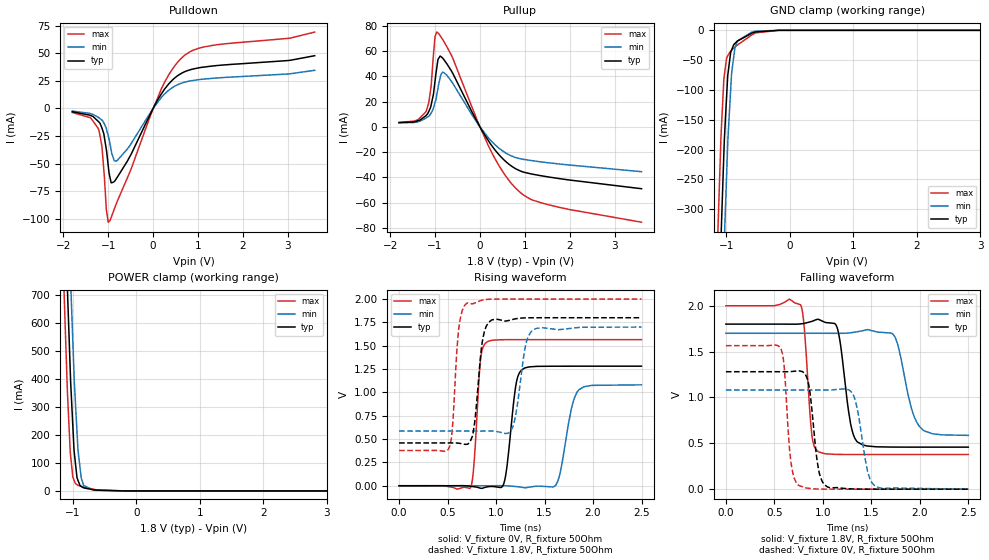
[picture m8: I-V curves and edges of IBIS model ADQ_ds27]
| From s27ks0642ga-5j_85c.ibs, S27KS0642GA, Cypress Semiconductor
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[Model]   ADQ_ds27
Model_type   I/O
Polarity   Non-Inverting
Enable   Active-High
Vinl = 0.54
Vinh = 1.26
Vmeas = 0.9
Vref = 0.9
Cref = 15pF
|   typ   min   max
C_comp   1.03pF   1.01pF   1.05pF
[Voltage Range]   1.8   1.7   2
[Temperature Range]   25   85   -40
[Pullup Reference]   1.8   1.7   2
[Pulldown Reference]   0   0   0
[Power Clamp Reference]   1.8   1.7   2
[GND Clamp Reference]   0   0   0
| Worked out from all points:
|   slope of the pulldown table from 0 to 0.27 V, typ, clamps not added: 14.7 ohm
|   slope of the pullup table from 0 to 0.27 V, typ, clamps not added: 17.7 ohm
|   falling waveform, V_fixture 1.8V, R_fixture 50Ohm: 20-80 % time 96.3ps typ, 141ps min, 61.6ps max; typ from 1.8 V to 0.458 V
|   rising waveform, V_fixture 0V, R_fixture 50Ohm: 20-80 % time 78.8ps typ, 110ps min, 53.5ps max; typ from 0 V to 1.28 V
|   rising waveform, V_fixture 1.8V, R_fixture 50Ohm: 20-80 % time 72ps typ, 88.7ps min, 59.2ps max; typ from 0.458 V to 1.8 V
|   falling waveform, V_fixture 0V, R_fixture 50Ohm: 20-80 % time 78.4ps typ, 100ps min, 61.4ps max; typ from 1.28 V to 0 V
[Pulldown]
|   Voltage   I(typ)   I(min)   I(max)
-1.8V     -2.948mA   -2.372mA   -3.666mA
-1.388V   -6.449mA   -4.746mA   -8.67mA
-1.22V    -11.79mA   -8.041mA   -18.25mA
-1.14V    -17.65mA   -10.5mA    -34.28mA
-1.04V    -37.62mA   -18.34mA   -92.16mA
-1V       -51.67mA   -24.74mA   -103.2mA
-934.2mV  -67.41mA   -37.74mA   -99.03mA
-794mV    -62.19mA   -46.99mA   -83.91mA
188mV     13.38mA    10.25mA    18.18mA
644mV     32.16mA    23.13mA    46.12mA
1.118V    37.49mA    26.6mA     55.67mA
3.6V      47.88mA    34.59mA    69.29mA
[GND Clamp]
|   Voltage   I(typ)   I(min)   I(max)
-1.8V     -3.484A    -3.673A    -3.305A
-1.134V   -520.6mA   -713.2mA   -332.2mA
-1.086V   -348mA     -533.3mA   -176.7mA
-1.042V   -208.9mA   -375.4mA   -83.82mA
-1.032V   -179.1mA   -344.3mA   -73.7mA
-1V       -114.9mA   -249.7mA   -47.7mA
-981mV    -76.7mA    -192.8mA   -43.01mA
-919.4mV  -33.09mA   -72.19mA   -33.07mA
-868.4mV  -22.12mA   -30.31mA   -28.2mA
-828mV    -18mA      -17.87mA   -24.6mA
-598.1mV  -4.656mA   -2.836mA   -7.538mA
3.6V      0A         0A         0A
[Pullup]
|   Voltage   I(typ)   I(min)   I(max)
-1.8V     3.385mA    3.221mA    3.467mA
-1.202V   8.811mA    6.933mA    11.97mA
-1.14V    12.14mA    8.396mA    18.79mA
-1.086V   17.39mA    11.01mA    32.35mA
-1V       36.05mA    19.16mA    71.51mA
-960mV    46.96mA    25.41mA    75.11mA
-885.6mV  56.1mA     38.8mA     72.28mA
-804.6mV  53.42mA    43.02mA    67.76mA
255.3mV   -14.47mA   -11.28mA   -19.77mA
902mV     -35.02mA   -25.32mA   -52.12mA
1.55V     -39.85mA   -28.57mA   -61.95mA
3.6V      -49.04mA   -35.53mA   -75.58mA
[POWER Clamp]
|   Voltage   I(typ)   I(min)   I(max)
-1.8V     6.849A     7.225A     6.488A
-1.139V   1.115A     1.517A     717.5mA
-1.134V   1.071A     1.469A     678.2mA
-1.086V   723.7mA    1.11A      355.8mA
-1.035V   390.7mA    749.3mA    124.8mA
-1V       230mA      532mA      49.14mA
-982mV    148.4mA    420.3mA    38.85mA
-919.4mV  38.05mA    147mA      20.34mA
-868.4mV  15.75mA    46.84mA    16.43mA
-829.3mV  10.91mA    19.37mA    14.02mA
-679.7mV  4.269mA    3.052mA    6.3mA
3.6V      0A         0A         0A
[Ramp]
R_load = 50
|   typ   min   max
dV/dt_r 7.6855E-01/7.8329E-11   6.4857E-01/1.1026E-10   9.3920E-01/5.3452E-11
dV/dt_f 8.0496E-01/9.6094E-11   6.6811E-01/1.4061E-10   9.7326E-01/6.1506E-11
[Falling Waveform]
V_fixture = 1.8V
V_fixture_min = 1.7V
V_fixture_max = 2V
R_fixture = 50Ohm
C_fixture = 0F
|   Time   V(typ)   V(min)   V(max)
0s        1.8V       1.7V       2V
770ps     1.802V     1.7V       2.011V
885ps     1.829V     1.7V       605.6mV
950ps     1.853V     1.7V       411.1mV
1.15ns    1.753V     1.699V     379.1mV
1.285ns   720.1mV    1.706V     378.1mV
1.355ns   516.1mV    1.717V     378mV
1.745ns   458.9mV    1.658V     377.9mV
2.03ns    458.4mV    646.9mV    377.9mV
2.5ns     458.4mV    586.5mV    377.9mV
[Rising Waveform]
V_fixture = 0V
V_fixture_min = 0V
V_fixture_max = 0V
R_fixture = 50Ohm
C_fixture = 0F
|   Time   V(typ)   V(min)   V(max)
0s        0V         0V         0V
740ps     -6.089mV   0V         -13.8mV
840ps     -26.51mV   -1.256uV   1.352V
910ps     -11.5mV    -26.86uV   1.543V
1.08ns    22.92mV    446.1uV    1.565V
1.2ns     1.048V     -8.193mV   1.565V
1.265ns   1.242V     -16.28mV   1.565V
1.615ns   1.281V     2.789mV    1.565V
1.855ns   1.281V     1.028V     1.565V
2.5ns     1.281V     1.081V     1.565V
[Rising Waveform]
V_fixture = 1.8V
V_fixture_min = 1.7V
V_fixture_max = 2V
R_fixture = 50Ohm
C_fixture = 0F
|   Time   V(typ)   V(min)   V(max)
0s        458.4mV    585.8mV    377.9mV
510ps     458.4mV    585.8mV    392.9mV
550ps     458.7mV    585.8mV    621.6mV
615ps     455.9mV    585.8mV    1.677V
695ps     443.4mV    585.8mV    1.952V
865ps     1.583V     585.9mV    1.99V
950ps     1.773V     586.6mV    1.999V
1.175ns   1.782V     638mV      2V
1.375ns   1.8V       1.664V     2V
2.5ns     1.8V       1.7V       2V
[Falling Waveform]
|Gnd
V_fixture = 0V
V_fixture_min = 0V
V_fixture_max = 0V
R_fixture = 50Ohm
C_fixture = 0F
|   Time   V(typ)   V(min)   V(max)
0s        1.281V     1.081V     1.565V
565ps     1.281V     1.081V     1.537V
670ps     1.282V     1.081V     301.4mV
750ps     1.29V      1.081V     41.75mV
845ps     1.182V     1.081V     10.61mV
955ps     216.5mV    1.081V     1.55mV
1.05ns    23.02mV    1.081V     275.4uV
1.31ns    2.61mV     1.035V     6.615uV
1.54ns    107.9uV    33.35mV    0V
2.5ns     0V         6.734uV    0V
